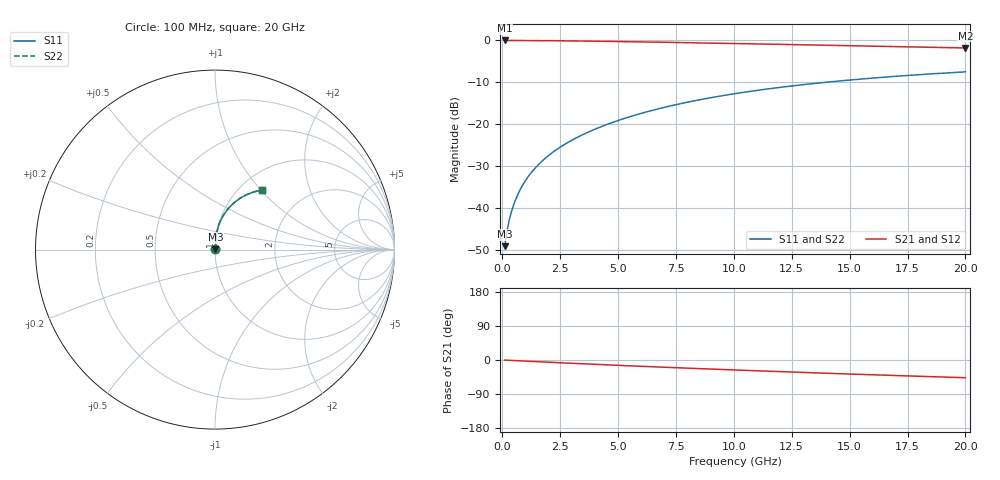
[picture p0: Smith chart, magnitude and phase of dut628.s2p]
! Touchstone file exported from HFSS 2024.1.0
!  File:  C:/UserFiles/LocalFiles/RDL_TSV_Batchsim/temp_RDL_bottom_628_1779784380.aedt
!  Generated:  04:35:27 PM May 26, 2026
!  Design:  RDL_bottom
!  Project:  temp_RDL_bottom_628_1779784380
!  Setup:  Setup1
!  Solution:  Sweep
! Variables:
!  dtsv = 10.80580581um
!  hbump = 3um
!  htsv = 55.77um
!  ldown = 655.88um
!  lrdl = 100um
!  p = 40
!  p1 = 58.76um
!  rhole = 1um
!  t = 450um
!  tdown = 3.89um
!  trdl = 3.915915916um
!  wdown = 23.83um
!  wrdl = 20um
# GHz S MA R 50.000000
! Terminal data exported
! Port[1] = RDL1_T1
! Port[2] = RDL1_T2
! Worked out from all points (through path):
!   200 points, 100 MHz to 20 GHz, reference 50 ohm
!   highest |S21| = -0.02 dB at 100 MHz (marker M1); lowest = -1.8 dB at 20 GHz (marker M2)
!   group delay of S21, straight-line fit = 6.43 ps
!   lowest |S11| = -49.0 dB at 100 MHz (marker M3), VSWR 1.01, Z = 50.3 + j0.231 ohm
!   |S11| at or under -10 dB: start of sweep to 13.94 GHz
!   |S22| runs from -49.0 to -7.5 dB; largest |S21 - S12| = 2.1e-14
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0.1  0.003547 40.4  0.9973 -0.3  0.9973 -0.3  0.003547 40.4
! Gamma 0 0 0 0
! Port Impedance 50 0 50 0
0.2  0.005327 57.6  0.9971 -0.6  0.9971 -0.6  0.005327 57.6
0.3  0.007257 65.6  0.9969 -0.9  0.9969 -0.9  0.007257 65.6
0.4  0.009221 70.3  0.9967 -1.2  0.9967 -1.2  0.00922 70.3
0.5  0.01121 73.4  0.9965 -1.5  0.9965 -1.5  0.01121 73.5
0.6  0.01321 75.7  0.9963 -1.8  0.9963 -1.8  0.01321 75.7
0.8  0.01728 78.8  0.9959 -2.4  0.9959 -2.4  0.01728 78.8
1.1  0.02348 81.4  0.995 -3.2  0.995 -3.2  0.02348 81.4
1.5  0.03189 83.2  0.9936 -4.4  0.9936 -4.4  0.03189 83.3
1.8  0.03829 84.0  0.9923 -5.3  0.9923 -5.3  0.03829 84.0
2.1  0.04477 84.4  0.9908 -6.1  0.9908 -6.1  0.04477 84.5
2.7  0.05795 84.8  0.9873 -7.8  0.9873 -7.8  0.05797 84.9
3.5  0.07602 84.6  0.9816 -10.1  0.9816 -10.1  0.07605 84.7
4.2  0.09225 84.0  0.9759 -12.0  0.9759 -12.0  0.09229 84.1
5  0.1112 83.0  0.9687 -14.1  0.9687 -14.1  0.1113 83.1
6.8  0.1546 79.9  0.951 -18.7  0.951 -18.7  0.1548 80.0
8.4  0.1933 76.5  0.9345 -22.5  0.9345 -22.5  0.1935 76.6
10.1  0.2332 72.7  0.9165 -26.5  0.9165 -26.5  0.2336 72.8
11.7  0.2692 69.0  0.8993 -30.0  0.8993 -30.0  0.2696 69.2
13.4  0.3053 65.2  0.8811 -33.7  0.8811 -33.7  0.3058 65.4
16.7  0.3683 58.1  0.8459 -40.5  0.8459 -40.5  0.369 58.3
20  0.4218 51.6  0.8118 -46.8  0.8118 -46.8  0.4226 51.8
